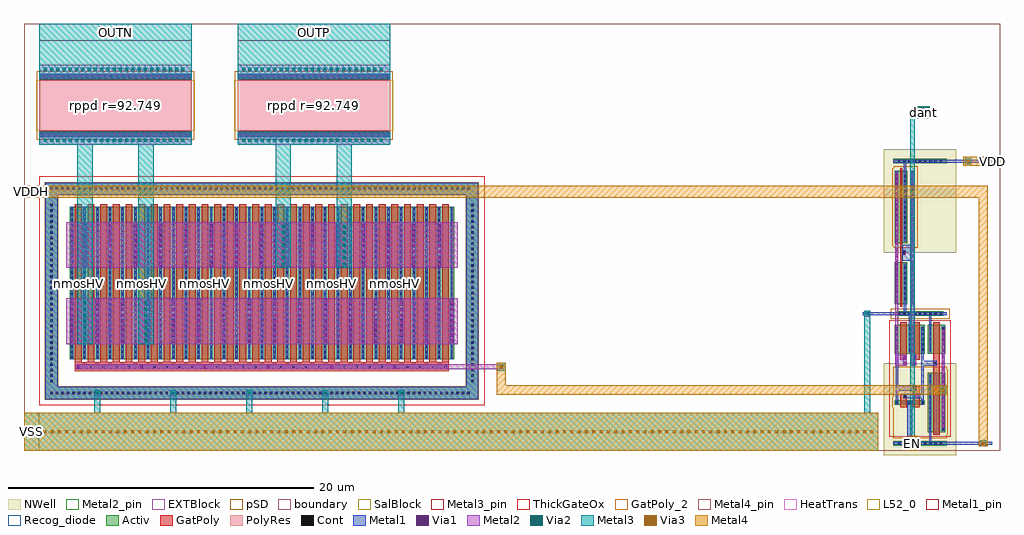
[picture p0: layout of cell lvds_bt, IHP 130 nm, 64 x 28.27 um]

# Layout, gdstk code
import gdstk
lib = gdstk.Library(unit=1e-6, precision=1e-09)
def R(c, l, rs):  # rectangles x0, y0, x1, y1
    for r in rs: c.add(gdstk.rectangle(r[:2], r[2:], *l))
def A(c, l, x, y, w, h, nx, ny, dx, dy):  # array of equal rectangles
    R(c, l, [(x+i*dx, y+j*dy, x+i*dx+w, y+j*dy+h) for i in range(nx) for j in range(ny)])
def P(c, l, *ps):  # polygons
    for p in ps: c.add(gdstk.Polygon(p, *l))
Activ = (1, 0)
GatPoly = (5, 0)
GatPoly_2 = (5, 2)
Cont = (6, 0)
Metal1 = (8, 0)
Metal1_pin = (8, 2)
Metal2 = (10, 0)
Metal2_pin = (10, 2)
pSD = (14, 0)
Via1 = (19, 0)
SalBlock = (28, 0)
Via2 = (29, 0)
Metal3 = (30, 0)
Metal3_pin = (30, 2)
NWell = (31, 0)
ThickGateOx = (44, 0)
Via3 = (49, 0)
Metal4 = (50, 0)
Metal4_pin = (50, 2)
HeatTrans = (51, 0)
L52_0 = (52, 0)
Recog_diode = (99, 31)
EXTBlock = (111, 0)
PolyRes = (128, 0)
boundary = (189, 4)

ref_odt_lvlup = lib.new_cell('ref_odt_lvlup')
R(ref_odt_lvlup, Activ, [(0,-0.15,3.51,0.15), (2.275,0.73,3.405,4.63), (0.105,2.53,2.065,2.83), (0.105,5.87,1.235,7.77), (1.15,5.87,1.85,7.77), (1.765,5.87,2.065,7.77), (2.275,5.87,3.405,7.77), (0.245,8.35,3.29,8.65), (0.105,9.13,0.915,11.88), (1.125,9.13,1.425,11.88), (0.105,13.12,0.915,17.87), (1.125,13.12,1.425,17.87), (0,18.35,3.51,18.65)])
R(ref_odt_lvlup, GatPoly, [(2.615,0.55,3.065,7.95), (0.445,2.35,0.895,3.01), (0.445,2.35,0.895,3.25), (1.275,2.35,1.725,3.75), (1.275,3.45,1.575,3.75), (0.445,5.49,0.895,7.95), (1.275,5.49,1.725,7.95)])
P(ref_odt_lvlup, GatPoly, [(0.445,8.95),(0.445,18.05),(0.575,18.05),(0.575,12.65),(0.825,12.65),(0.825,12.35),(0.575,12.35),(0.575,8.95)],
  [(0.595,5.49),(0.595,5.69),(0.445,5.69),(0.445,7.95),(0.895,7.95),(0.895,5.49)],
  [(1.275,5.49),(1.275,7.95),(1.725,7.95),(1.725,5.69),(1.575,5.69),(1.575,5.49)])
A(ref_odt_lvlup, Cont, 0.315, -0.08, 0.16, 0.16, 9, 2, 0.34, 8.5)
A(ref_odt_lvlup, Cont, 2.345, 0.9, 0.16, 0.16, 1, 11, 0, 0.34)
A(ref_odt_lvlup, Cont, 3.175, 0.9, 0.16, 0.16, 1, 11, 0, 0.34)
A(ref_odt_lvlup, Cont, 0.175, 2.6, 0.16, 0.16, 3, 2, 0.83, 3.46)
A(ref_odt_lvlup, Cont, 2.345, 6.06, 0.16, 0.16, 1, 5, 0, 0.34)
A(ref_odt_lvlup, Cont, 3.175, 6.06, 0.16, 0.16, 1, 5, 0, 0.34)
A(ref_odt_lvlup, Cont, 0.175, 6.4, 0.16, 0.16, 3, 4, 0.83, 0.34)
A(ref_odt_lvlup, Cont, 0.175, 9.235, 0.16, 0.16, 1, 8, 0, 0.34)
A(ref_odt_lvlup, Cont, 1.195, 9.235, 0.16, 0.16, 1, 8, 0, 0.34)
A(ref_odt_lvlup, Cont, 0.685, 9.405, 0.16, 0.16, 1, 7, 0, 0.34)
A(ref_odt_lvlup, Cont, 0.175, 13.205, 0.16, 0.16, 1, 14, 0, 0.34)
A(ref_odt_lvlup, Cont, 1.195, 13.205, 0.16, 0.16, 1, 14, 0, 0.34)
A(ref_odt_lvlup, Cont, 0.685, 13.375, 0.16, 0.16, 1, 13, 0, 0.34)
A(ref_odt_lvlup, Cont, 0.315, 18.42, 0.16, 0.16, 9, 1, 0.34, 0)
R(ref_odt_lvlup, Cont, [(0.665,3.02,0.825,3.18), (1.345,3.52,1.505,3.68), (2.685,5.17,2.845,5.33), (0.665,5.56,0.825,5.72), (1.345,5.56,1.505,5.72), (0.595,12.42,0.755,12.58)])
R(ref_odt_lvlup, Metal1, [(3.175,0.82,3.385,7.66), (0.665,2.94,0.825,3.26), (1.345,3.44,1.505,3.76), (0.665,5.1,0.875,5.8), (1.295,5.1,1.505,5.8), (1.345,5.48,1.505,5.8), (0.125,9.155,0.335,17.865)])
P(ref_odt_lvlup, Metal1, [(1.835,2.52),(1.835,2.94),(0.665,2.94),(0.665,3.26),(1.835,3.26),(1.835,7.66),(1.995,7.66),(1.995,5.41),(2.845,5.41),(2.845,5.09),(1.995,5.09),(1.995,2.52)],
  [(0,-0.105),(0,0.105),(0.925,0.105),(0.925,2.76),(1.245,2.76),(1.245,0.105),(2.345,0.105),(2.345,4.54),(2.505,4.54),(2.505,0.105),(3.51,0.105),(3.51,-0.105)],
  [(0.175,2.52),(0.175,7.66),(0.335,7.66),(0.335,3.76),(1.505,3.76),(1.505,3.44),(0.335,3.44),(0.335,2.52)],
  [(1.17,9.155),(1.17,11.97),(0.595,11.97),(0.595,13.03),(1.17,13.03),(1.17,17.865),(1.38,17.865),(1.38,9.155)],
  [(1.005,5.98),(1.005,8.395),(0,8.395),(0,8.605),(0.685,8.605),(0.685,11.79),(0.845,11.79),(0.845,8.605),(3.51,8.605),(3.51,8.395),(2.505,8.395),(2.505,5.98),(2.345,5.98),(2.345,8.395),(1.165,8.395),(1.165,5.98)],
  [(0.685,13.21),(0.685,18.395),(0,18.395),(0,18.605),(3.51,18.605),(3.51,18.395),(0.845,18.395),(0.845,13.21)])
R(ref_odt_lvlup, Metal1_pin, [(0,-0.105,3.51,0.105), (0,8.395,3.51,8.605), (0,18.395,3.51,18.605)])
R(ref_odt_lvlup, Metal2, [(3.18,1.02,3.38,7.46)])
P(ref_odt_lvlup, Metal2, [(1.175,5.1),(1.175,17.755),(1.375,17.755),(1.375,5.8),(1.5,5.8),(1.5,5.1)],
  [(0.13,5.1),(0.13,17.755),(0.33,17.755),(0.33,5.8),(0.87,5.8),(0.87,5.1)])
R(ref_odt_lvlup, Metal2_pin, [(3.18,1.02,3.38,7.46), (1.175,9.265,1.375,17.755)])
R(ref_odt_lvlup, pSD, [(-0.18,8.17,3.69,8.83)])
P(ref_odt_lvlup, pSD, [(0.035,12.82),(0.035,12.94),(-0.075,12.94),(-0.075,18.05),(0.035,18.05),(0.035,18.17),(1.605,18.17),(1.605,12.82)],
  [(0,0.33),(0,2.35),(-0.075,2.35),(-0.075,3.01),(0,3.01),(0,5.03),(3.51,5.03),(3.51,4.81),(3.585,4.81),(3.585,0.55),(3.51,0.55),(3.51,0.33)])
A(ref_odt_lvlup, Via1, 3.185, 1.07, 0.19, 0.19, 1, 16, 0, 0.41)
A(ref_odt_lvlup, Via1, 0.135, 9.315, 0.19, 0.19, 1, 21, 0, 0.41)
A(ref_odt_lvlup, Via1, 1.18, 9.315, 0.19, 0.19, 1, 21, 0, 0.41)
R(ref_odt_lvlup, Via1, [(0.675,5.15,0.865,5.34), (1.305,5.15,1.495,5.34), (0.675,5.56,0.865,5.75), (1.305,5.56,1.495,5.75)])
R(ref_odt_lvlup, NWell, [(-0.62,-0.77,4.13,5.25), (-0.62,12.5,4.13,19.27)])
R(ref_odt_lvlup, ThickGateOx, [(-0.27,0.42,3.78,8.08)])
ref_odt_lvlup.add(gdstk.Label('iovdd', (1.755,0), layer=8, texttype=25))
ref_odt_lvlup.add(gdstk.Label('vss', (1.755,8.5), layer=8, texttype=25))
ref_odt_lvlup.add(gdstk.Label('vdd', (1.755,18.5), layer=8, texttype=25))
ref_odt_lvlup.add(gdstk.Label('o', (3.28,4.24), layer=10, texttype=25))
ref_odt_lvlup.add(gdstk.Label('i', (1.275,13.51), layer=10, texttype=25))

lvds_bt = lib.new_cell('lvds_bt')
A(lvds_bt, Activ, 3, 6, 0.3, 0.3, 31, 1, 0.83, 0)
R(lvds_bt, Activ, [(1.4,3.4,29.8,4.2), (1.4,3.4,2.2,17.6), (29,3.4,29.8,17.6), (3,6,28.2,16), (1.4,16.8,29.8,17.6), (58.6,21.8,59.38,22.58)])
A(lvds_bt, GatPoly, 3.34, 5.82, 0.45, 10.36, 30, 1, 0.83, 0)
R(lvds_bt, GatPoly, [(3.34,5.22,27.86,5.82), (1,20.57,11,20.8), (14,20.57,24,20.8), (1,20.8,11,21), (14,20.8,24,21), (1,24.3,11,24.5), (14,24.3,24,24.5), (1,24.5,11,24.73), (14,24.5,24,24.73)])
R(lvds_bt, GatPoly_2, [(3.34,5.82,3.79,16.18)])
A(lvds_bt, Cont, 1.72, 3.72, 0.16, 0.16, 77, 2, 0.36, 13.4)
A(lvds_bt, Cont, 1.72, 4.52, 0.16, 0.16, 1, 33, 0, 0.36)
A(lvds_bt, Cont, 29.32, 4.52, 0.16, 0.16, 1, 33, 0, 0.36)
A(lvds_bt, Cont, 3.485, 5.44, 0.16, 0.16, 30, 1, 0.83, 0)
A(lvds_bt, Cont, 3.07, 6.07, 0.16, 0.16, 31, 4, 0.83, 0.345)
A(lvds_bt, Cont, 3.07, 7.455, 0.16, 0.16, 31, 3, 0.83, 0.345)
A(lvds_bt, Cont, 3.07, 8.495, 0.16, 0.16, 31, 4, 0.83, 0.345)
A(lvds_bt, Cont, 3.07, 9.88, 0.16, 0.16, 31, 3, 0.83, 0.345)
A(lvds_bt, Cont, 3.07, 10.92, 0.16, 0.16, 31, 4, 0.83, 0.345)
A(lvds_bt, Cont, 3.07, 12.305, 0.16, 0.16, 31, 3, 0.83, 0.345)
A(lvds_bt, Cont, 3.07, 13.345, 0.16, 0.16, 31, 4, 0.83, 0.345)
A(lvds_bt, Cont, 3.07, 14.73, 0.16, 0.16, 31, 3, 0.83, 0.345)
A(lvds_bt, Cont, 3.07, 15.77, 0.16, 0.16, 31, 1, 0.83, 0)
R(lvds_bt, Cont, [(1.07,20.64,10.93,20.8), (14.07,20.64,23.93,20.8), (58.74,21.94,58.9,22.1), (59.08,21.94,59.24,22.1), (58.74,22.28,58.9,22.44), (59.08,22.28,59.24,22.44), (1.07,24.5,10.93,24.66), (14.07,24.5,23.93,24.66)])
A(lvds_bt, Metal1, 3.07, 6, 0.16, 10, 31, 1, 0.83, 0)
A(lvds_bt, Metal1, 3.025, 7, 0.25, 3, 16, 1, 1.66, 0)
A(lvds_bt, Metal1, 3.855, 12, 0.25, 3, 15, 1, 1.66, 0)
R(lvds_bt, Metal1, [(60.51,0.395,63.5,0.605), (1.4,3.4,29.8,4.2), (1.4,3.4,2.2,17.6), (29,3.4,29.8,17.6), (3.435,5.37,27.765,5.67), (55,8.895,57,9.105), (1.4,16.8,29.8,17.6), (60.51,18.895,63.5,19.105), (1.02,20.57,10.98,20.87), (14.02,20.57,23.98,20.87), (58.69,21.89,59.29,22.49), (58.74,21.94,59.24,22.44), (58.74,21.94,59.24,22.44), (1.02,24.43,10.98,24.73), (14.02,24.43,23.98,24.73)])
R(lvds_bt, Metal1_pin, [(3.07,6,3.23,16), (3.9,6,4.06,16), (1.02,20.57,10.98,20.87), (14.02,20.57,23.98,20.87), (1.02,24.43,10.98,24.73), (14.02,24.43,23.98,24.73)])
A(lvds_bt, Metal2, 4.62, 3.61, 0.38, 0.38, 5, 1, 4.98, 0)
R(lvds_bt, Metal2, [(62.71,0.31,63.09,0.69), (3.415,5.37,31.5,5.67), (2.77,7,28.43,10), (55.11,8.81,55.49,9.19), (2.77,12,28.43,15), (61.71,18.81,62.09,19.19), (1,20.07,11,20.92), (14,20.07,24,20.92), (58.8,22,59.18,22.38), (1,24.38,11,25.33), (14,24.38,24,25.33)])
R(lvds_bt, pSD, [(1.37,3.37,29.83,4.23), (1.37,3.37,2.23,17.63), (28.97,3.37,29.83,17.63), (1.37,16.77,29.83,17.63), (0.82,20.39,11.18,21), (13.82,20.39,24.18,21), (0.82,21,11.18,24.3), (13.82,21,24.18,24.3), (0.82,24.3,11.18,24.91), (13.82,24.3,24.18,24.91)])
A(lvds_bt, Via1, 4.715, 3.705, 0.19, 0.19, 5, 1, 4.98, 0)
A(lvds_bt, Via1, 3.47, 5.425, 0.19, 0.19, 6, 1, 4.15, 0)
A(lvds_bt, Via1, 3.055, 7.155, 0.19, 0.19, 16, 7, 1.66, 0.41)
A(lvds_bt, Via1, 3.885, 12.155, 0.19, 0.19, 15, 7, 1.66, 0.41)
A(lvds_bt, Via1, 1.305, 20.625, 0.19, 0.19, 23, 2, 0.41, 3.86)
A(lvds_bt, Via1, 14.305, 20.625, 0.19, 0.19, 23, 2, 0.41, 3.86)
R(lvds_bt, Via1, [(62.805,0.405,62.995,0.595), (55.205,8.905,55.395,9.095), (61.805,18.905,61.995,19.095), (58.895,22.095,59.085,22.285)])
R(lvds_bt, SalBlock, [(0.8,21,11.2,24.3), (13.8,21,24.2,24.3)])
A(lvds_bt, Via2, 4.715, 3.705, 0.19, 0.19, 5, 1, 4.98, 0)
A(lvds_bt, Via2, 3.905, 7.155, 0.19, 0.19, 1, 7, 0, 0.41)
A(lvds_bt, Via2, 7.905, 7.155, 0.19, 0.19, 1, 7, 0, 0.41)
A(lvds_bt, Via2, 16.905, 12.155, 0.19, 0.19, 1, 7, 0, 0.41)
A(lvds_bt, Via2, 20.905, 12.155, 0.19, 0.19, 1, 7, 0, 0.41)
A(lvds_bt, Via2, 1.305, 20.275, 0.19, 0.19, 23, 2, 0.41, 4.66)
A(lvds_bt, Via2, 14.305, 20.275, 0.19, 0.19, 23, 2, 0.41, 4.66)
R(lvds_bt, Via2, [(62.805,0.405,62.995,0.595), (60.185,3.905,60.375,4.095), (31.205,5.425,31.395,5.615), (55.205,8.905,55.395,9.095), (58.18,16.905,58.37,17.095), (61.805,18.905,61.995,19.095), (58.895,22.095,59.085,22.285)])
A(lvds_bt, Metal3, 4.61, 0, 0.4, 3.99, 5, 1, 4.98, 0)
R(lvds_bt, Metal3, [(0,0,56,2.5), (55.1,0,55.5,9), (58.125,0,58.425,22.38), (58.125,0,58.425,1), (62.71,0.31,63.09,0.69), (60.09,3.81,60.47,4.19), (31,5.25,31.6,5.79), (3.5,7,4.5,20.07), (7.5,7,8.5,20.07), (55.11,8.81,55.49,9.19), (16.5,12,17.5,20.07), (20.5,12,21.5,20.07), (61.71,18.81,62.09,19.19), (1,20.07,11,20.92), (14,20.07,24,20.92), (58.125,22,59.18,22.38), (1,24.38,11,28), (14,24.38,24,28), (1,26.9,11,28), (14,26.9,24,28)])
R(lvds_bt, Metal3_pin, [(1,26.9,11,28), (14,26.9,24,28)])
R(lvds_bt, ThickGateOx, [(1,3,30.2,18), (2.73,4.7,28.47,16.52), (2.73,5.48,28.47,16.52)])
A(lvds_bt, Via3, 0.305, 1.155, 0.19, 0.19, 116, 1, 0.48, 0)
R(lvds_bt, Via3, [(58.18,0.405,58.37,0.595), (62.805,0.405,62.995,0.595), (60.185,3.905,60.375,4.095), (31.205,5.425,31.395,5.615), (61.805,18.905,61.995,19.095)])
R(lvds_bt, Metal4, [(0,0,56,2.5), (0,0,1,2.5), (57.975,0,58.575,1), (62.6,0.31,63.2,17.4), (62.71,0.31,63.09,0.69), (31,3.7,31.6,5.79), (31,3.7,60.58,4.3), (0,16.6,63.2,17.4), (0,16.6,1,17.4), (61.6,18.7,64,19.3), (63,18.7,64,19.3), (61.71,18.81,62.09,19.19)])
R(lvds_bt, Metal4_pin, [(0,0,1,2.5), (57.975,0,58.575,1), (0,16.6,1,17.4), (63,18.7,64,19.3)])
A(lvds_bt, HeatTrans, 3.34, 5.82, 0.45, 10.36, 30, 1, 0.83, 0)
R(lvds_bt, L52_0, [(1,21,11,24.3), (14,21,24,24.3)])
R(lvds_bt, Recog_diode, [(58.58,21.78,59.4,22.6)])
R(lvds_bt, EXTBlock, [(0.82,20.39,11.18,21), (13.82,20.39,24.18,21), (0.8,21,11.2,24.3), (13.8,21,24.2,24.3), (0.82,24.3,11.18,24.91), (13.82,24.3,24.18,24.91)])
R(lvds_bt, PolyRes, [(1,21,11,24.3), (14,21,24,24.3)])
R(lvds_bt, boundary, [(0,0,64,28)])
lvds_bt.add(gdstk.Reference(ref_odt_lvlup, (57,0.5)))
lvds_bt.add(gdstk.Label('OUTN', (6,27.45), layer=30, texttype=25))
lvds_bt.add(gdstk.Label('OUTP', (19,27.45), layer=30, texttype=25))
lvds_bt.add(gdstk.Label('VDDH', (0.5,17), layer=50, texttype=25))
lvds_bt.add(gdstk.Label('VDD', (63.5,19), layer=50, texttype=25))
lvds_bt.add(gdstk.Label('EN', (58.275,0.5), layer=50, texttype=25))
lvds_bt.add(gdstk.Label('VSS', (0.5,1.25), layer=50, texttype=25))
lvds_bt.add(gdstk.Label('nmosHV', (3.565,11), layer=63, texttype=0))
lvds_bt.add(gdstk.Label('rppd r=92.749', (6,22.65), layer=63, texttype=0))
lvds_bt.add(gdstk.Label('rppd r=92.749', (19,22.65), layer=63, texttype=0))
lvds_bt.add(gdstk.Label('dant', (58.99,22.19), layer=63, texttype=0))
lvds_bt.add(gdstk.Label('nmosHV', (3.565,11), layer=51, texttype=0))
lvds_bt.add(gdstk.Label('nmosHV', (4.395,11), layer=51, texttype=0))
lvds_bt.add(gdstk.Label('nmosHV', (5.225,11), layer=51, texttype=0))
lvds_bt.add(gdstk.Label('nmosHV', (6.055,11), layer=51, texttype=0))
lvds_bt.add(gdstk.Label('nmosHV', (6.885,11), layer=51, texttype=0))
lvds_bt.add(gdstk.Label('nmosHV', (7.715,11), layer=51, texttype=0))
lvds_bt.add(gdstk.Label('nmosHV', (8.545,11), layer=51, texttype=0))
lvds_bt.add(gdstk.Label('nmosHV', (9.375,11), layer=51, texttype=0))
lvds_bt.add(gdstk.Label('nmosHV', (10.205,11), layer=51, texttype=0))
lvds_bt.add(gdstk.Label('nmosHV', (11.035,11), layer=51, texttype=0))
lvds_bt.add(gdstk.Label('nmosHV', (11.865,11), layer=51, texttype=0))
lvds_bt.add(gdstk.Label('nmosHV', (12.695,11), layer=51, texttype=0))
lvds_bt.add(gdstk.Label('nmosHV', (13.525,11), layer=51, texttype=0))
lvds_bt.add(gdstk.Label('nmosHV', (14.355,11), layer=51, texttype=0))
lvds_bt.add(gdstk.Label('nmosHV', (15.185,11), layer=51, texttype=0))
lvds_bt.add(gdstk.Label('nmosHV', (16.015,11), layer=51, texttype=0))
lvds_bt.add(gdstk.Label('nmosHV', (16.845,11), layer=51, texttype=0))
lvds_bt.add(gdstk.Label('nmosHV', (17.675,11), layer=51, texttype=0))
lvds_bt.add(gdstk.Label('nmosHV', (18.505,11), layer=51, texttype=0))
lvds_bt.add(gdstk.Label('nmosHV', (19.335,11), layer=51, texttype=0))
lvds_bt.add(gdstk.Label('nmosHV', (20.165,11), layer=51, texttype=0))
lvds_bt.add(gdstk.Label('nmosHV', (20.995,11), layer=51, texttype=0))
lvds_bt.add(gdstk.Label('nmosHV', (21.825,11), layer=51, texttype=0))
lvds_bt.add(gdstk.Label('nmosHV', (22.655,11), layer=51, texttype=0))
lvds_bt.add(gdstk.Label('nmosHV', (23.485,11), layer=51, texttype=0))
lvds_bt.add(gdstk.Label('nmosHV', (24.315,11), layer=51, texttype=0))
lvds_bt.add(gdstk.Label('nmosHV', (25.145,11), layer=51, texttype=0))
lvds_bt.add(gdstk.Label('nmosHV', (25.975,11), layer=51, texttype=0))
lvds_bt.add(gdstk.Label('nmosHV', (26.805,11), layer=51, texttype=0))
lvds_bt.add(gdstk.Label('nmosHV', (27.635,11), layer=51, texttype=0))
lvds_bt.add(gdstk.Label('rppd', (6,22.65), layer=52, texttype=0))
lvds_bt.add(gdstk.Label('rppd', (19,22.65), layer=52, texttype=0))

lib.write_gds('lvds_bt.gds')
